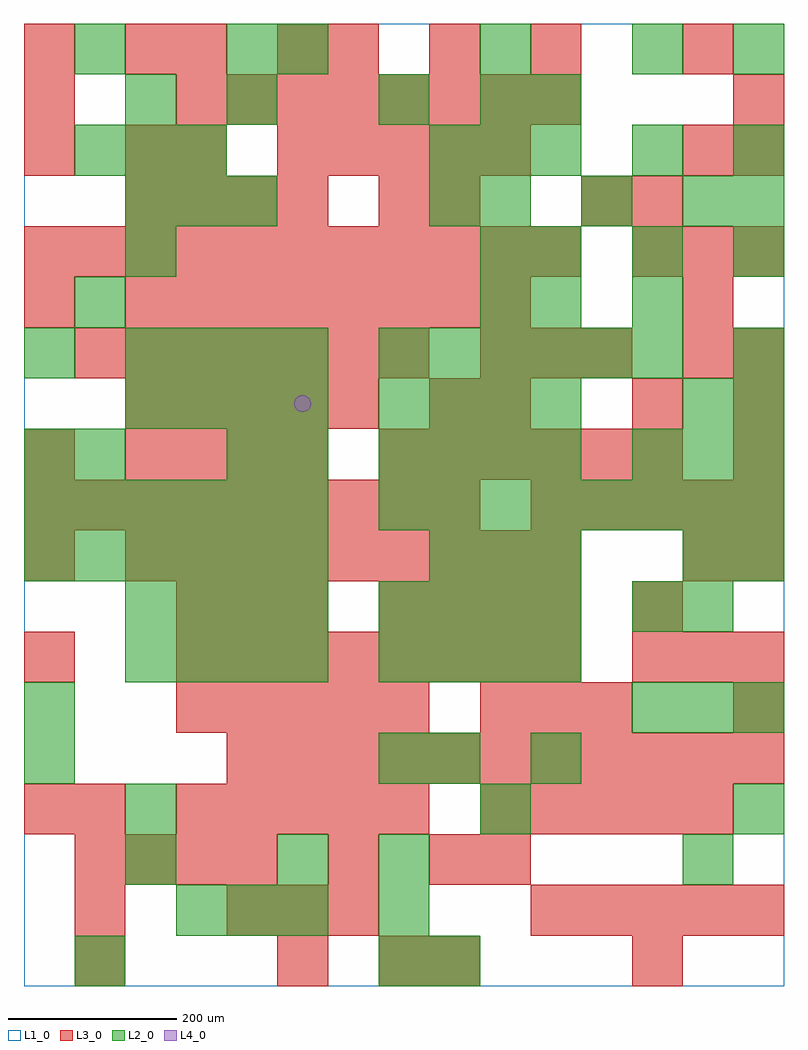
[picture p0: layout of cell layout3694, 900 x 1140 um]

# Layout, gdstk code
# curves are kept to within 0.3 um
import gdstk
lib = gdstk.Library(unit=1e-6, precision=1e-09)
def R(c, l, rs):  # rectangles x0, y0, x1, y1
    for r in rs: c.add(gdstk.rectangle(r[:2], r[2:], *l))
def A(c, l, x, y, w, h, nx, ny, dx, dy):  # array of equal rectangles
    R(c, l, [(x+i*dx, y+j*dy, x+i*dx+w, y+j*dy+h) for i in range(nx) for j in range(ny)])
def P(c, l, *ps):  # polygons
    for p in ps: c.add(gdstk.Polygon(p, *l))
L1_0 = (1, 0)
L2_0 = (2, 0)
L3_0 = (3, 0)
L4_0 = (4, 0)

layout3694 = lib.new_cell('layout3694')
R(layout3694, L1_0, [(0,0,900,1140)])
A(layout3694, L2_0, 420, 0, 60, 60, 1, 3, 0, 60)
A(layout3694, L2_0, 180, 60, 60, 60, 3, 1, 60, 0)
A(layout3694, L2_0, 300, 120, 60, 60, 1, 3, 0, 480)
A(layout3694, L2_0, 720, 300, 60, 60, 3, 2, 60, 300)
A(layout3694, L2_0, 120, 360, 60, 60, 4, 2, 60, 60)
A(layout3694, L2_0, 420, 360, 60, 60, 4, 2, 60, 60)
A(layout3694, L2_0, 0, 480, 60, 60, 6, 2, 60, 60)
A(layout3694, L2_0, 480, 480, 60, 60, 3, 2, 60, 480)
A(layout3694, L2_0, 420, 540, 60, 60, 8, 1, 60, 0)
A(layout3694, L2_0, 420, 600, 60, 60, 4, 2, 60, 60)
A(layout3694, L2_0, 120, 660, 60, 60, 4, 2, 60, 60)
A(layout3694, L2_0, 420, 720, 60, 60, 6, 1, 60, 0)
A(layout3694, L2_0, 600, 840, 60, 60, 3, 1, 120, 0)
A(layout3694, L2_0, 120, 900, 60, 60, 3, 1, 60, 0)
A(layout3694, L2_0, 540, 900, 60, 60, 3, 1, 120, 0)
A(layout3694, L2_0, 60, 960, 60, 60, 3, 1, 60, 0)
R(layout3694, L2_0, [(60,0,120,60), (480,0,540,60), (120,120,180,180), (780,120,840,180), (120,180,180,240), (540,180,600,240), (840,180,900,240), (0,240,60,300), (420,240,480,300), (480,240,540,300), (600,240,660,300), (0,300,60,360), (720,420,780,480), (780,420,840,480), (780,480,840,540), (840,480,900,540), (0,600,60,660), (60,600,120,660), (240,600,300,660), (780,660,840,720), (840,660,900,720), (0,720,60,780), (840,720,900,780), (60,780,120,840), (540,780,600,840), (600,780,660,840), (720,780,780,840), (120,840,180,900), (540,840,600,900), (480,900,540,960), (840,900,900,960), (720,960,780,1020), (840,960,900,1020), (120,1020,180,1080), (240,1020,300,1080), (420,1020,480,1080), (540,1020,600,1080), (600,1020,660,1080), (60,1080,120,1140), (240,1080,300,1140), (540,1080,600,1140), (720,1080,780,1140), (840,1080,900,1140)])
A(layout3694, L3_0, 240, 60, 60, 60, 3, 1, 60, 0)
A(layout3694, L3_0, 600, 60, 60, 60, 5, 2, 60, 480)
A(layout3694, L3_0, 60, 120, 60, 60, 4, 1, 60, 0)
A(layout3694, L3_0, 180, 180, 60, 60, 5, 2, 60, 120)
A(layout3694, L3_0, 540, 180, 60, 60, 5, 1, 60, 0)
A(layout3694, L3_0, 240, 240, 60, 60, 11, 1, 60, 0)
A(layout3694, L3_0, 540, 300, 60, 60, 3, 2, 60, 420)
A(layout3694, L3_0, 0, 360, 60, 60, 1, 3, 0, 120)
A(layout3694, L3_0, 180, 360, 60, 60, 8, 2, 60, 660)
A(layout3694, L3_0, 720, 360, 60, 60, 3, 2, 60, 480)
A(layout3694, L3_0, 180, 420, 60, 60, 3, 1, 60, 0)
A(layout3694, L3_0, 420, 420, 60, 60, 4, 1, 60, 0)
A(layout3694, L3_0, 720, 420, 60, 60, 1, 3, 0, 240)
A(layout3694, L3_0, 120, 480, 60, 60, 9, 1, 60, 0)
A(layout3694, L3_0, 0, 540, 60, 60, 9, 1, 60, 0)
A(layout3694, L3_0, 120, 600, 60, 60, 4, 2, 60, 300)
A(layout3694, L3_0, 420, 600, 60, 60, 6, 1, 60, 0)
A(layout3694, L3_0, 840, 600, 60, 60, 1, 3, 0, 60)
A(layout3694, L3_0, 120, 660, 60, 60, 5, 1, 60, 0)
A(layout3694, L3_0, 60, 720, 60, 60, 7, 1, 60, 0)
A(layout3694, L3_0, 120, 780, 60, 60, 8, 1, 60, 0)
A(layout3694, L3_0, 0, 840, 60, 60, 11, 1, 60, 0)
A(layout3694, L3_0, 0, 960, 60, 60, 1, 3, 0, 60)
A(layout3694, L3_0, 300, 960, 60, 60, 5, 1, 60, 0)
A(layout3694, L3_0, 360, 1080, 60, 60, 3, 1, 120, 0)
R(layout3694, L3_0, [(60,0,120,60), (300,0,360,60), (420,0,480,60), (480,0,540,60), (720,0,780,60), (60,60,120,120), (360,120,420,180), (480,120,540,180), (540,120,600,180), (0,180,60,240), (60,180,120,240), (840,300,900,360), (780,480,840,540), (840,480,900,540), (480,660,540,720), (540,660,600,720), (780,720,840,780), (0,780,60,840), (780,780,840,840), (420,900,480,960), (480,900,540,960), (660,900,720,960), (120,960,180,1020), (180,960,240,1020), (780,960,840,1020), (840,960,900,1020), (840,1020,900,1080), (120,1080,180,1140), (180,1080,240,1140), (300,1080,360,1140), (780,1080,840,1140)])
P(layout3694, L4_0, [(340,690),(339.239,693.827),(337.071,697.071),(333.827,699.239),(330,700),(326.173,699.239),(322.929,697.071),(320.761,693.827),(320,690),(320.761,686.173),(322.929,682.929),(326.173,680.761),(330,680),(333.827,680.761),(337.071,682.929),(339.239,686.173)])

lib.write_gds('layout3694.gds')
